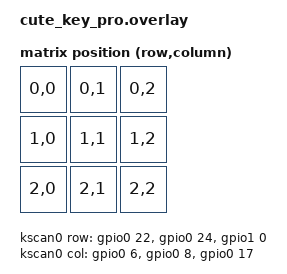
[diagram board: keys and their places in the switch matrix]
#include <dt-bindings/zmk/matrix_transform.h>
#include <physical_layouts.dtsi>

/*
 * 3×3 matrix wiring on Nice Nano (nRF52840)
 *
 *        Col 0       Col 1       Col 2
 *        D1/P0.06    D0/P0.08    D2/P0.17
 * Row 0  D5/P0.22 │  A           B           C
 * Row 1  D6/P0.24 │  D           E           STU
 * Row 2  D7/P1.00 │  G           H           BLE pair
 *
 * Diode direction: row2col (cathode/negative toward row wire)
 */

/ {
    chosen {
        zmk,kscan = &kscan0;
        /* zmk,matrix_transform must NOT be set when using zmk,physical-layout with ZMK Studio —
           the physical layout node carries the transform reference instead. */
        zmk,physical-layout = &physical_layout0;
    };

    default_transform: keymap_transform_0 {
        compatible = "zmk,matrix-transform";
        columns = <3>;
        rows = <3>;
        map = <
            RC(0,0) RC(0,1) RC(0,2)
            RC(1,0) RC(1,1) RC(1,2)
            RC(2,0) RC(2,1) RC(2,2)
        >;
    };

    /*
     * Physical layout for ZMK Studio – positions in centi-keyunits (100 = 1U = 19.05mm)
     * Format: <&key_physical_attrs w h x y rot rx ry>
     *
     *   [A][B][C]
     *   [D][E][S]
     *   [G][H][T]
     */
    physical_layout0: physical_layout_0 {
        compatible = "zmk,physical-layout";
        display-name = "3x3 Macropad";
        transform = <&default_transform>;
        kscan = <&kscan0>;
        keys
            //                     w    h    x    y   rot  rx  ry
            = <&key_physical_attrs 100 100    0    0     0   0   0>  /* A */
            , <&key_physical_attrs 100 100  100    0     0   0   0>  /* B */
            , <&key_physical_attrs 100 100  200    0     0   0   0>  /* C */
            , <&key_physical_attrs 100 100    0  100     0   0   0>  /* D */
            , <&key_physical_attrs 100 100  100  100     0   0   0>  /* E */
            , <&key_physical_attrs 100 100  200  100     0   0   0>  /* Studio */
            , <&key_physical_attrs 100 100    0  200     0   0   0>  /* G */
            , <&key_physical_attrs 100 100  100  200     0   0   0>  /* H */
            , <&key_physical_attrs 100 100  200  200     0   0   0>  /* BLE pair */
            ;
    };

    kscan0: kscan_0 {
        compatible = "zmk,kscan-gpio-matrix";
        label = "KSCAN";
        diode-direction = "row2col";

        row-gpios
            = <&gpio0 22 GPIO_ACTIVE_HIGH>   /* Row 0 – D5 */
            , <&gpio0 24 GPIO_ACTIVE_HIGH>   /* Row 1 – D6 */
            , <&gpio1  0 GPIO_ACTIVE_HIGH>   /* Row 2 – D7 */
            ;

        col-gpios
            = <&gpio0  6 (GPIO_ACTIVE_HIGH | GPIO_PULL_DOWN)>   /* Col 0 – D1 */
            , <&gpio0  8 (GPIO_ACTIVE_HIGH | GPIO_PULL_DOWN)>   /* Col 1 – D0 */
            , <&gpio0 17 (GPIO_ACTIVE_HIGH | GPIO_PULL_DOWN)>   /* Col 2 – D2 */
            ;
    };
};
